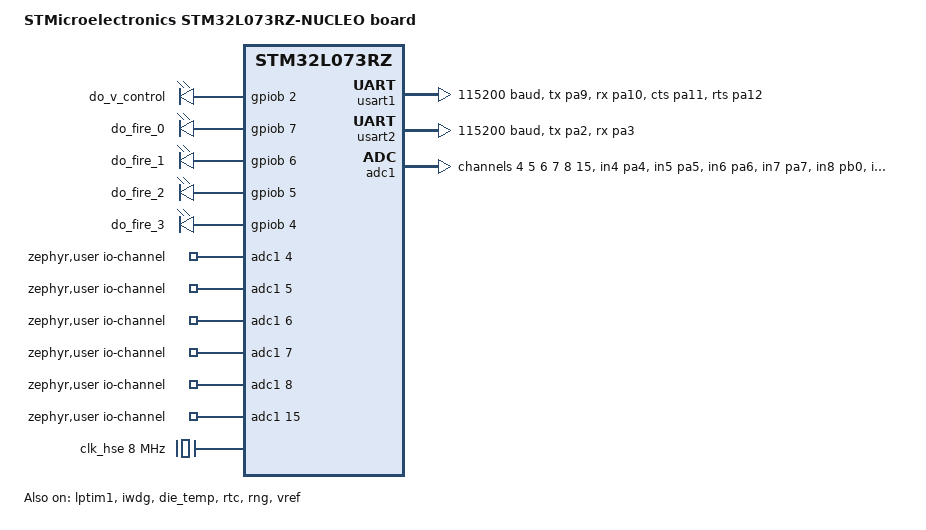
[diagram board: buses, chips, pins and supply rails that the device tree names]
/*
 * Copyright (c) 2018 Ilya Tagunov <tagunil@gmail.com>
 * Copyright (c) 2024 STMicroelectronics
 *
 * SPDX-License-Identifier: Apache-2.0
 */

/dts-v1/;
#include <st/l0/stm32l073Xz.dtsi>
#include <st/l0/stm32l073r(b-z)tx-pinctrl.dtsi>
#include "arduino_r3_connector.dtsi"
#include "st_morpho_connector.dtsi"
#include <zephyr/dt-bindings/input/input-event-codes.h>

/ {
	model = "STMicroelectronics STM32L073RZ-NUCLEO board";
	compatible = "st,stm32l073rz-nucleo";

	chosen {
		zephyr,console = &usart2;
		zephyr,shell-uart = &usart2;
		zephyr,xbee = &usart1;
		zephyr,sram = &sram0;
		zephyr,flash = &flash0;
	};

	digital_output {
		compatible = "gpio-leds";

		do_v_control: v_control  {
			gpios = <&gpiob 2 GPIO_ACTIVE_HIGH>;
		};

		do_fire_0: fire_0  {
			gpios = <&gpiob 7 GPIO_ACTIVE_HIGH>;
		};
		do_fire_1: fire_1  {
			gpios = <&gpiob 6 GPIO_ACTIVE_HIGH>;
		};
		do_fire_2: fire_2  {
			gpios = <&gpiob 5 GPIO_ACTIVE_HIGH>;
		};
		do_fire_3: fire_3  {
			gpios = <&gpiob 4 GPIO_ACTIVE_HIGH>;
		};
	};

	aliases {
		watchdog0 = &iwdg;
		die-temp0 = &die_temp;
		volt-sensor0 = &vref;
	};

	zephyr,user {
		io-channels = <&adc1 4>, <&adc1 5>, <&adc1 6>, <&adc1 7>, <&adc1 8>, <&adc1 15>;
	};
};

&clk_hse {
	hse-bypass;
	clock-frequency = <DT_FREQ_M(8)>; /* STLink 8MHz clock */
	status = "okay";
};

&clk_lsi {
	status = "okay";
};

&clk_hsi48 {
	status = "okay";
};

&pll {
	div = <2>;
	mul = <8>;
	clocks = <&clk_hse>;
	status = "okay";
};

&rcc {
	clocks = <&pll>;
	clock-frequency = <DT_FREQ_M(32)>;
	ahb-prescaler = <1>;
	apb1-prescaler = <1>;
	apb2-prescaler = <1>;
};

stm32_lp_tick_source: &lptim1 {
	/*
	 * LSI freq is 37KHz but stm32_lptim driver is using 32000Hz
	 * resulting in time running 1.13 faster than reality
	 */
	clocks = <&rcc STM32_CLOCK_BUS_APB1 0x80000000>,
		<&rcc STM32_SRC_LSI LPTIM1_SEL(1)>;
	status = "okay";
};

&usart1 {
	pinctrl-0 = <&usart1_tx_pa9 &usart1_rx_pa10 &usart1_cts_pa11 &usart1_rts_pa12>;
	pinctrl-names = "default";
	current-speed = <115200>;
	status = "okay";
};

&usart2 {
	pinctrl-0 = <&usart2_tx_pa2 &usart2_rx_pa3>;
	pinctrl-names = "default";
	current-speed = <115200>;
	status = "okay";
};

&iwdg {
	status = "okay";
};

&adc1 {
	pinctrl-0 = <&adc_in4_pa4>, <&adc_in5_pa5>, <&adc_in6_pa6>, <&adc_in7_pa7>, <&adc_in8_pb0>, <&adc_in15_pc5>;
	pinctrl-names = "default";
	st,adc-clock-source = <SYNC>;
	st,adc-prescaler = <4>;
	status = "okay";

	#address-cells = <1>;
	#size-cells = <0>;

	// PA4: I_CONTROL
	channel@4 {
		reg = <4>;
		zephyr,gain = "ADC_GAIN_1";
		zephyr,reference = "ADC_REF_INTERNAL";
		zephyr,acquisition-time = <ADC_ACQ_TIME_DEFAULT>;
		zephyr,resolution = <12>;
	};

	// PA5: I_FE0
	channel@5 {
		reg = <5>;
		zephyr,gain = "ADC_GAIN_1";
		zephyr,reference = "ADC_REF_INTERNAL";
		zephyr,acquisition-time = <ADC_ACQ_TIME_DEFAULT>;
		zephyr,resolution = <12>;
	};

	// PA6: I_FE1
	channel@6 {
		reg = <6>;
		zephyr,gain = "ADC_GAIN_1";
		zephyr,reference = "ADC_REF_INTERNAL";
		zephyr,acquisition-time = <ADC_ACQ_TIME_DEFAULT>;
		zephyr,resolution = <12>;
	};

	// PA7: I_FE2
	channel@7 {
		reg = <7>;
		zephyr,gain = "ADC_GAIN_1";
		zephyr,reference = "ADC_REF_INTERNAL";
		zephyr,acquisition-time = <ADC_ACQ_TIME_DEFAULT>;
		zephyr,resolution = <12>;
	};

	// PB0: I_FE3
	channel@8 {
		reg = <8>;
		zephyr,gain = "ADC_GAIN_1";
		zephyr,reference = "ADC_REF_INTERNAL";
		zephyr,acquisition-time = <ADC_ACQ_TIME_DEFAULT>;
		zephyr,resolution = <12>;
	};

	// PC5: I_BATT
	channel@15 {
		reg = <15>;
		zephyr,gain = "ADC_GAIN_1";
		zephyr,reference = "ADC_REF_INTERNAL";
		zephyr,acquisition-time = <ADC_ACQ_TIME_DEFAULT>;
		zephyr,resolution = <12>;
	};
};

&die_temp {
	status = "okay";
};

&rtc {
	clocks = <&rcc STM32_CLOCK_BUS_APB1 0x10000000>,
		 <&rcc STM32_SRC_LSI RTC_SEL(2)>;
	status = "okay";
};

&rng {
	status = "okay";
};

&vref {
	status = "okay";
};
